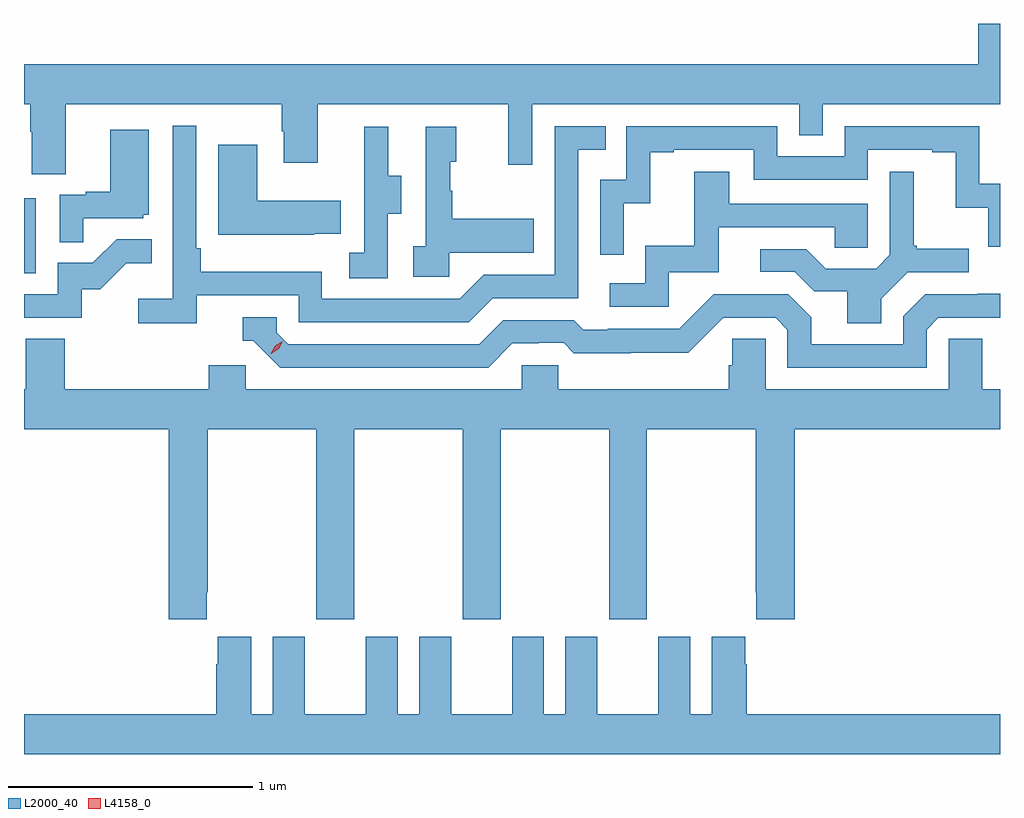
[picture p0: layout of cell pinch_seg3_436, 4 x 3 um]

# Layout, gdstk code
import gdstk
lib = gdstk.Library(unit=1e-6, precision=1e-09)
def R(c, l, rs):  # rectangles x0, y0, x1, y1
    for r in rs: c.add(gdstk.rectangle(r[:2], r[2:], *l))
def P(c, l, *ps):  # polygons
    for p in ps: c.add(gdstk.Polygon(p, *l))
L2000_40 = (2000, 40)
L4158_0 = (4158, 0)

pinch_seg3_436 = lib.new_cell('pinch_seg3_436')
R(pinch_seg3_436, L2000_40, [(944.433,682.908,944.482,683.215)])
P(pinch_seg3_436, L2000_40, [(944.605,683.6),(945.49,683.6),(945.49,683.489),(945.497,683.489),(945.497,683.361),(945.637,683.361),(945.637,683.6),(946.418,683.6),(946.418,683.352),(946.515,683.352),(946.515,683.6),(947.61,683.6),(947.61,683.473),(947.706,683.473),(947.706,683.6),(948.433,683.6),(948.433,683.931),(948.344,683.931),(948.344,683.764),(944.433,683.764),(944.433,683.6),(944.458,683.6),(944.458,683.488),(944.465,683.488),(944.465,683.314),(944.605,683.314)],
  [(945.14,682.818),(945.558,682.818),(945.558,682.707),(946.255,682.707),(946.354,682.806),(946.704,682.806),(946.704,683.415),(946.817,683.415),(946.817,683.511),(946.608,683.511),(946.608,682.902),(946.317,682.902),(946.218,682.803),(945.654,682.803),(945.654,682.915),(945.158,682.915),(945.158,683.011),(945.138,683.011),(945.138,683.512),(945.042,683.512),(945.042,682.804),(944.901,682.804),(944.901,682.702),(945.14,682.702)],
  [(946.89,683.195),(947,683.195),(947,683.403),(947.095,683.403),(947.095,683.415),(947.424,683.415),(947.424,683.292),(947.892,683.292),(947.892,683.415),(948.155,683.415),(948.155,683.403),(948.251,683.403),(948.251,683.177),(948.384,683.177),(948.384,683.016),(948.433,683.016),(948.433,683.275),(948.348,683.275),(948.348,683.511),(947.796,683.511),(947.796,683.388),(947.52,683.388),(947.52,683.511),(946.902,683.511),(946.902,683.292),(946.794,683.292),(946.794,682.983),(946.89,682.983)],
  [(945.924,683.152),(945.979,683.152),(945.979,683.307),(945.925,683.307),(945.925,683.509),(945.827,683.509),(945.827,683.295),(945.828,683.295),(945.828,682.991),(945.765,682.991),(945.765,682.888),(945.924,682.888)],
  [(946.176,682.991),(946.523,682.991),(946.523,683.131),(946.189,683.131),(946.189,683.246),(946.179,683.246),(946.179,683.364),(946.204,683.364),(946.204,683.509),(946.08,683.509),(946.08,683.018),(946.029,683.018),(946.029,682.893),(946.176,682.893)],
  [(944.675,683.133),(944.922,683.133),(944.922,683.148),(944.944,683.148),(944.944,683.497),(944.786,683.497),(944.786,683.242),(944.687,683.242),(944.687,683.229),(944.58,683.229),(944.58,683.035),(944.675,683.035)],
  [(945.623,683.069),(945.731,683.069),(945.731,683.206),(945.388,683.206),(945.388,683.434),(945.23,683.434),(945.23,683.066),(945.623,683.066)],
  [(947.947,682.804),(948.054,682.911),(948.304,682.911),(948.304,683.008),(948.091,683.008),(948.091,683.02),(948.079,683.02),(948.079,683.323),(947.982,683.323),(947.982,682.983),(947.925,682.926),(947.719,682.926),(947.638,683.007),(947.451,683.007),(947.451,682.914),(947.592,682.914),(947.672,682.834),(947.807,682.834),(947.807,682.702),(947.947,682.702)],
  [(947.076,682.911),(947.281,682.911),(947.281,683.097),(947.755,683.097),(947.755,683.013),(947.892,683.013),(947.892,683.193),(947.323,683.193),(947.323,683.323),(947.179,683.323),(947.179,683.02),(946.98,683.02),(946.98,682.866),(946.833,682.866),(946.833,682.77),(947.076,682.77)],
  [(944.67,682.842),(944.746,682.842),(944.853,682.949),(944.957,682.949),(944.957,683.048),(944.813,683.048),(944.715,682.95),(944.571,682.95),(944.571,682.821),(944.433,682.821),(944.433,682.725),(944.67,682.725)],
  [(946.435,682.62),(946.542,682.62),(946.542,682.623),(946.645,682.623),(946.687,682.581),(946.92,682.581),(946.92,682.583),(947.156,682.583),(947.298,682.725),(947.514,682.725),(947.562,682.677),(947.562,682.521),(948.132,682.521),(948.132,682.677),(948.18,682.725),(948.433,682.725),(948.433,682.823),(948.342,682.823),(948.342,682.821),(948.126,682.821),(948.036,682.731),(948.036,682.617),(947.659,682.617),(947.659,682.727),(947.565,682.821),(947.259,682.821),(947.118,682.68),(946.825,682.68),(946.825,682.677),(946.726,682.677),(946.687,682.716),(946.398,682.716),(946.299,682.617),(945.516,682.617),(945.468,682.665),(945.468,682.728),(945.329,682.728),(945.329,682.632),(945.372,682.632),(945.483,682.521),(946.336,682.521)],
  [(947.431,681.601),(947.435,681.601),(947.435,681.489),(947.591,681.489),(947.591,682.268),(948.433,682.268),(948.433,682.432),(948.361,682.432),(948.361,682.64),(948.222,682.64),(948.222,682.432),(947.472,682.432),(947.472,682.64),(947.335,682.64),(947.335,682.53),(947.321,682.53),(947.321,682.432),(946.623,682.432),(946.623,682.53),(946.473,682.53),(946.473,682.432),(945.342,682.432),(945.342,682.53),(945.191,682.53),(945.191,682.432),(944.6,682.432),(944.6,682.64),(944.44,682.64),(944.44,682.432),(944.433,682.432),(944.433,682.268),(945.026,682.268),(945.026,681.489),(945.181,681.489),(945.181,681.601),(945.186,681.601),(945.186,682.268),(945.631,682.268),(945.631,681.489),(945.786,681.489),(945.786,682.268),(946.231,682.268),(946.231,681.489),(946.386,681.489),(946.386,682.268),(946.831,682.268),(946.831,681.489),(946.986,681.489),(946.986,682.268),(947.431,682.268)],
  [(948.433,681.1),(947.396,681.1),(947.396,681.305),(947.389,681.305),(947.389,681.418),(947.252,681.418),(947.252,681.1),(947.164,681.1),(947.164,681.418),(947.033,681.418),(947.033,681.1),(946.783,681.1),(946.783,681.418),(946.652,681.418),(946.652,681.1),(946.564,681.1),(946.564,681.418),(946.433,681.418),(946.433,681.1),(946.183,681.1),(946.183,681.418),(946.052,681.418),(946.052,681.1),(945.964,681.1),(945.964,681.418),(945.833,681.418),(945.833,681.1),(945.583,681.1),(945.583,681.418),(945.452,681.418),(945.452,681.1),(945.364,681.1),(945.364,681.418),(945.227,681.418),(945.227,681.305),(945.221,681.305),(945.221,681.1),(944.433,681.1),(944.433,680.936),(948.433,680.936)])
P(pinch_seg3_436, L4158_0, [(945.445,682.578),(945.445,682.578),(945.462,682.611),(945.493,682.63),(945.493,682.63),(945.493,682.63),(945.477,682.598),(945.446,682.578)])

lib.write_gds('pinch_seg3_436.gds')
